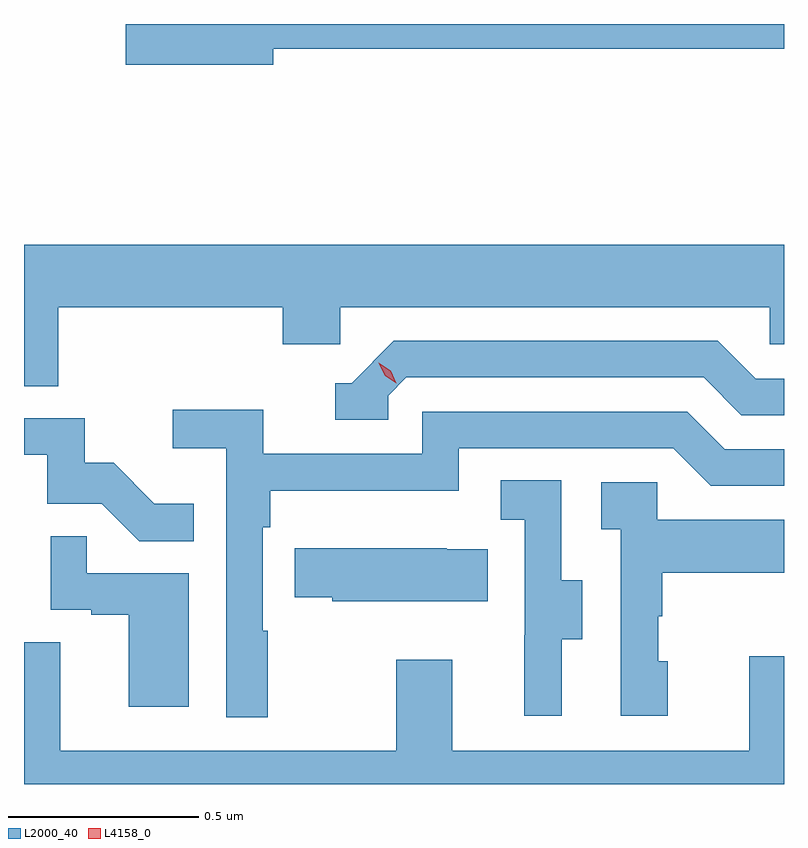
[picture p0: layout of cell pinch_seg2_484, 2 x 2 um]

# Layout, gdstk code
import gdstk
lib = gdstk.Library(unit=1e-6, precision=1e-09)
def P(c, l, *ps):  # polygons
    for p in ps: c.add(gdstk.Polygon(p, *l))
L2000_40 = (2000, 40)
L4158_0 = (4158, 0)

pinch_seg2_484 = lib.new_cell('pinch_seg2_484')
P(pinch_seg2_484, L2000_40, [(946.942,589.708),(948.286,589.708),(948.286,589.773),(946.554,589.773),(946.554,589.666),(946.942,589.666)],
  [(946.376,589.028),(946.967,589.028),(946.967,588.93),(947.118,588.93),(947.118,589.028),(948.249,589.028),(948.249,588.93),(948.286,588.93),(948.286,589.192),(946.286,589.192),(946.286,588.82),(946.376,588.82)],
  [(947.244,588.795),(947.292,588.843),(948.075,588.843),(948.174,588.744),(948.286,588.744),(948.286,588.84),(948.211,588.84),(948.112,588.939),(947.259,588.939),(947.148,588.828),(947.105,588.828),(947.105,588.732),(947.244,588.732)],
  [(946.927,588.176),(946.914,588.176),(946.914,588.449),(946.934,588.449),(946.934,588.545),(947.43,588.545),(947.43,588.657),(947.994,588.657),(948.093,588.558),(948.286,588.558),(948.286,588.654),(948.13,588.654),(948.031,588.753),(947.334,588.753),(947.334,588.642),(946.916,588.642),(946.916,588.758),(946.677,588.758),(946.677,588.656),(946.818,588.656),(946.818,587.949),(946.927,587.949)],
  [(946.733,588.511),(946.629,588.511),(946.522,588.618),(946.446,588.618),(946.446,588.735),(946.286,588.735),(946.286,588.639),(946.347,588.639),(946.347,588.51),(946.491,588.51),(946.589,588.412),(946.733,588.412)],
  [(947.701,588.154),(947.755,588.154),(947.755,588.309),(947.7,588.309),(947.7,588.572),(947.541,588.572),(947.541,588.469),(947.604,588.469),(947.604,588.165),(947.603,588.165),(947.603,587.952),(947.701,587.952)],
  [(947.98,588.096),(947.955,588.096),(947.955,588.215),(947.965,588.215),(947.965,588.329),(948.286,588.329),(948.286,588.469),(947.952,588.469),(947.952,588.567),(947.805,588.567),(947.805,588.443),(947.856,588.443),(947.856,587.952),(947.98,587.952)],
  [(946.72,588.327),(946.451,588.327),(946.451,588.425),(946.356,588.425),(946.356,588.231),(946.463,588.231),(946.463,588.219),(946.562,588.219),(946.562,587.976),(946.72,587.976)],
  [(947.507,588.391),(947.399,588.391),(947.399,588.394),(946.999,588.394),(946.999,588.265),(947.097,588.265),(947.097,588.254),(947.507,588.254)],
  [(948.286,588.109),(948.194,588.109),(948.194,587.86),(947.413,587.86),(947.413,588.1),(947.266,588.1),(947.266,587.86),(946.381,587.86),(946.381,588.146),(946.286,588.146),(946.286,587.773),(948.286,587.773)])
P(pinch_seg2_484, L4158_0, [(947.266,588.827),(947.236,588.847),(947.22,588.88),(947.22,588.881),(947.22,588.881),(947.251,588.861),(947.266,588.828),(947.266,588.827)])

lib.write_gds('pinch_seg2_484.gds')
